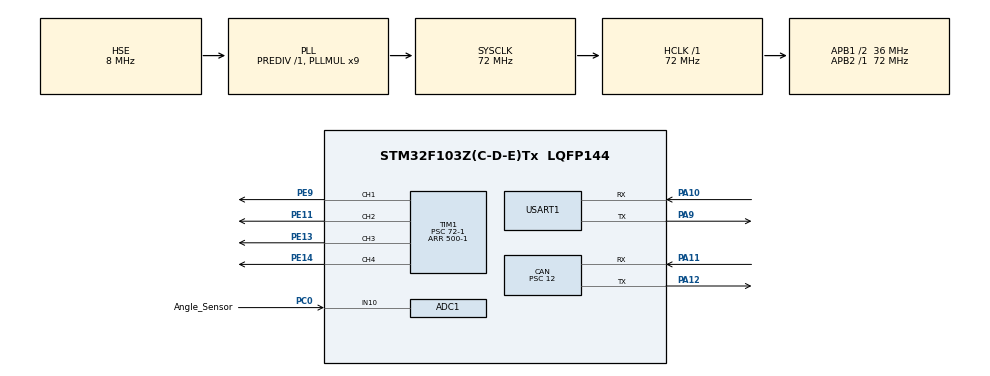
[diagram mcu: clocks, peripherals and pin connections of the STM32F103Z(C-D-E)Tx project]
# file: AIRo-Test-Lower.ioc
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ADC1.Channel-0\#ChannelRegularConversion=ADC_CHANNEL_10
ADC1.NbrOfConversionFlag=1
ADC1.Rank-0\#ChannelRegularConversion=1
ADC1.SamplingTime-0\#ChannelRegularConversion=ADC_SAMPLETIME_1CYCLE_5
ADC1.master=1
CAN.BS1=CAN_BS1_3TQ
CAN.BS2=CAN_BS2_2TQ
CAN.CalculateBaudRate=500000
CAN.CalculateTimeBit=1999.99
CAN.CalculateTimeQuantum=333.33333333333337
CAN.Mode=CAN_MODE_LOOPBACK
CAN.Prescaler=12
Mcu.Family=STM32F1
Mcu.Name=STM32F103Z(C-D-E)Tx
Mcu.Package=LQFP144
NVIC.PriorityGroup=NVIC_PRIORITYGROUP_4
NVIC.USART1_IRQn=true\:0\:0\:false\:false\:true\:true\:true
NVIC.USB_LP_CAN1_RX0_IRQn=true\:0\:0\:false\:false\:true\:true\:true
OSC_IN.Mode=HSE-External-Oscillator
OSC_IN.Signal=RCC_OSC_IN
OSC_OUT.Mode=HSE-External-Oscillator
OSC_OUT.Signal=RCC_OSC_OUT
PA10.Mode=Asynchronous
PA10.Signal=USART1_RX
PA11.Mode=CAN_Activate
PA11.Signal=CAN_RX
PA12.Mode=CAN_Activate
PA12.Signal=CAN_TX
PA9.Mode=Asynchronous
PA9.Signal=USART1_TX
PC0.GPIO_Label=Angle_Sensor
PC0.Signal=ADCx_IN10
PE11.Signal=S_TIM1_CH2
PE13.Signal=S_TIM1_CH3
PE14.Signal=S_TIM1_CH4
PE9.Signal=S_TIM1_CH1
ProjectManager.HeapSize=0x200
ProjectManager.StackSize=0x400
ProjectManager.TargetToolchain=MDK-ARM V5.27
RCC.ADCPresc=RCC_ADCPCLK2_DIV6
RCC.AHBFreq_Value=72000000
RCC.APB1CLKDivider=RCC_HCLK_DIV2
RCC.APB1Freq_Value=36000000
RCC.APB1TimFreq_Value=72000000
RCC.APB2Freq_Value=72000000
RCC.APB2TimFreq_Value=72000000
RCC.HCLKFreq_Value=72000000
RCC.PLLMUL=RCC_PLL_MUL9
RCC.PLLSourceVirtual=RCC_PLLSOURCE_HSE
RCC.SYSCLKFreq_VALUE=72000000
RCC.SYSCLKSource=RCC_SYSCLKSOURCE_PLLCLK
RCC.USBFreq_Value=72000000
SH.ADCx_IN10.0=ADC1_IN10,IN10
SH.S_TIM1_CH1.0=TIM1_CH1,PWM Generation1 CH1
SH.S_TIM1_CH2.0=TIM1_CH2,PWM Generation2 CH2
SH.S_TIM1_CH3.0=TIM1_CH3,PWM Generation3 CH3
SH.S_TIM1_CH4.0=TIM1_CH4,PWM Generation4 CH4
TIM1.Channel-PWM\ Generation1\ CH1=TIM_CHANNEL_1
TIM1.Channel-PWM\ Generation2\ CH2=TIM_CHANNEL_2
TIM1.Channel-PWM\ Generation3\ CH3=TIM_CHANNEL_3
TIM1.Channel-PWM\ Generation4\ CH4=TIM_CHANNEL_4
TIM1.Period=500-1
TIM1.Prescaler=72-1
USART1.VirtualMode=VM_ASYNC
VP_SYS_VS_ND.Mode=No_Debug
VP_TIM1_VS_ClockSourceINT.Mode=Internal
board=custom

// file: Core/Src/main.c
/* USER CODE BEGIN Header */
/**
  ******************************************************************************
  * @file           : main.c
  * @brief          : Main program body
  ******************************************************************************
  * @attention
  *
  * <h2><center>&copy; Copyright (c) 2024 STMicroelectronics.
  * All rights reserved.</center></h2>
  *
  * This software component is licensed by ST under BSD 3-Clause license,
  * the "License"; You may not use this file except in compliance with the
  * License. You may obtain a copy of the License at:
  *                        opensource.org/licenses/BSD-3-Clause
  *
  ******************************************************************************
  */
/* USER CODE END Header */
#include "main.h"
#include "adc.h"
#include "can.h"
#include "tim.h"
#include "usart.h"
#include "gpio.h"

void SystemClock_Config(void);

int main(void)
{

  /* MCU Configuration--------------------------------------------------------*/

  /* Reset of all peripherals, Initializes the Flash interface and the Systick. */
  HAL_Init();

  /* Configure the system clock */
  SystemClock_Config();

  /* Initialize all configured peripherals */
  MX_GPIO_Init();
  MX_USART1_UART_Init();
  MX_CAN_Init();
  MX_TIM1_Init();
  MX_ADC1_Init();
  /* USER CODE BEGIN 2 */
	HAL_UART_Receive_IT(&huart1,&Buffer,1);
	CAN_Config();

	HAL_TIM_PWM_Start(&htim1, TIM_CHANNEL_1);
	HAL_TIM_PWM_Start(&htim1, TIM_CHANNEL_2);
	UART1_printf("Initialize finished.\n");

	__HAL_TIM_SetCompare(&htim1, TIM_CHANNEL_1, 500);
	__HAL_TIM_SetCompare(&htim1, TIM_CHANNEL_2, 0);
	UART1_printf("Motion finished.\n");

  /* USER CODE END 2 */

  /* Infinite loop */
  /* USER CODE BEGIN WHILE */
  while (1)
  {

		ADC_Update();
		UART1_printf("ADC read value : %d \n",ADC_value);
		UART1_printf("change voltage value : %.4f \n",volt_value);
		UART1_printf("sensor angle : %.4f \n",sensor_angle);
		UART1_printf("corrected sensor angle : %.4f \n",sensor_angle_corrected);
		UART1_printf("joint angle : %.4f \n\n",joint_angle);
		HAL_Delay(1000);

    /* USER CODE END WHILE */

  }
}

void SystemClock_Config(void)
{
  RCC_OscInitTypeDef RCC_OscInitStruct = {0};
  RCC_ClkInitTypeDef RCC_ClkInitStruct = {0};
  RCC_PeriphCLKInitTypeDef PeriphClkInit = {0};

  /** Initializes the RCC Oscillators according to the specified parameters
  * in the RCC_OscInitTypeDef structure.
  */
  RCC_OscInitStruct.OscillatorType = RCC_OSCILLATORTYPE_HSE;
  RCC_OscInitStruct.HSEState = RCC_HSE_ON;
  RCC_OscInitStruct.HSEPredivValue = RCC_HSE_PREDIV_DIV1;
  RCC_OscInitStruct.HSIState = RCC_HSI_ON;
  RCC_OscInitStruct.PLL.PLLState = RCC_PLL_ON;
  RCC_OscInitStruct.PLL.PLLSource = RCC_PLLSOURCE_HSE;
  RCC_OscInitStruct.PLL.PLLMUL = RCC_PLL_MUL9;
  if (HAL_RCC_OscConfig(&RCC_OscInitStruct) != HAL_OK)
  {
    Error_Handler();
  }
  /** Initializes the CPU, AHB and APB buses clocks
  */
  RCC_ClkInitStruct.ClockType = RCC_CLOCKTYPE_HCLK|RCC_CLOCKTYPE_SYSCLK
                              |RCC_CLOCKTYPE_PCLK1|RCC_CLOCKTYPE_PCLK2;
  RCC_ClkInitStruct.SYSCLKSource = RCC_SYSCLKSOURCE_PLLCLK;
  RCC_ClkInitStruct.AHBCLKDivider = RCC_SYSCLK_DIV1;
  RCC_ClkInitStruct.APB1CLKDivider = RCC_HCLK_DIV2;
  RCC_ClkInitStruct.APB2CLKDivider = RCC_HCLK_DIV1;

  if (HAL_RCC_ClockConfig(&RCC_ClkInitStruct, FLASH_LATENCY_2) != HAL_OK)
  {
    Error_Handler();
  }
  PeriphClkInit.PeriphClockSelection = RCC_PERIPHCLK_ADC;
  PeriphClkInit.AdcClockSelection = RCC_ADCPCLK2_DIV6;
  if (HAL_RCCEx_PeriphCLKConfig(&PeriphClkInit) != HAL_OK)
  {
    Error_Handler();
  }
}

void Error_Handler(void)
{
  __disable_irq();
  while (1)
  {
  }
}

/************************ (C) COPYRIGHT STMicroelectronics *****END OF FILE****/
